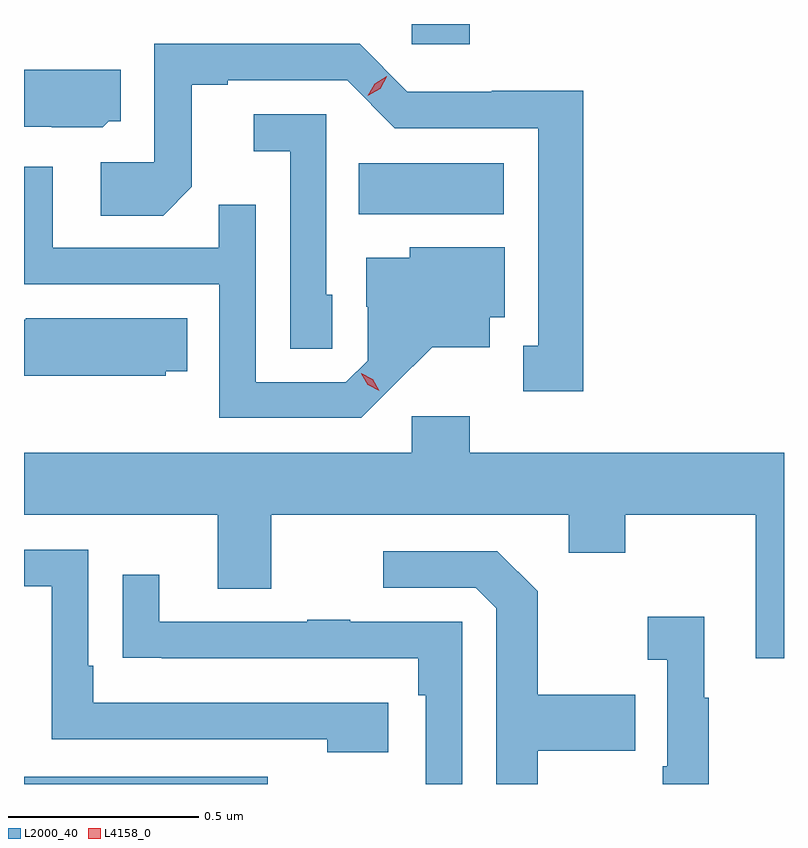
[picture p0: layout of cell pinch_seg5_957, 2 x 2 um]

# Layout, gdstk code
import gdstk
lib = gdstk.Library(unit=1e-6, precision=1e-09)
def R(c, l, rs):  # rectangles x0, y0, x1, y1
    for r in rs: c.add(gdstk.rectangle(r[:2], r[2:], *l))
def P(c, l, *ps):  # polygons
    for p in ps: c.add(gdstk.Polygon(p, *l))
L2000_40 = (2000, 40)
L4158_0 = (4158, 0)

pinch_seg5_957 = lib.new_cell('pinch_seg5_957')
R(pinch_seg5_957, L2000_40, [(677.945,913.328,678.587,913.347), (678.826,914.828,679.207,914.962), (678.966,915.275,679.118,915.328)])
P(pinch_seg5_957, L2000_40, [(679.417,915.152),(679.176,915.152),(679.176,915.15),(678.954,915.15),(678.828,915.276),(678.288,915.276),(678.288,914.964),(678.147,914.964),(678.147,914.824),(678.311,914.824),(678.387,914.9),(678.387,915.168),(678.481,915.168),(678.481,915.18),(678.795,915.18),(678.921,915.054),(679.298,915.054),(679.298,914.481),(679.259,914.481),(679.259,914.361),(679.417,914.361)],
  [(678.168,915.072),(678.199,915.072),(678.199,915.208),(677.945,915.208),(677.945,915.057),(678.018,915.057),(678.018,915.056),(678.152,915.056)],
  [(678.756,914.616),(678.741,914.616),(678.741,915.09),(678.549,915.09),(678.549,914.993),(678.645,914.993),(678.645,914.473),(678.756,914.473)],
  [(678.916,914.375),(679.019,914.477),(679.171,914.477),(679.171,914.556),(679.21,914.556),(679.21,914.74),(678.96,914.74),(678.96,914.713),(678.845,914.713),(678.845,914.584),(678.849,914.584),(678.849,914.442),(678.792,914.385),(678.555,914.385),(678.555,914.852),(678.457,914.852),(678.457,914.739),(678.021,914.739),(678.021,914.953),(677.945,914.953),(677.945,914.643),(678.459,914.643),(678.459,914.292),(678.832,914.292)],
  [(678.318,914.414),(678.374,914.414),(678.374,914.554),(677.95,914.554),(677.95,914.55),(677.945,914.55),(677.945,914.402),(678.318,914.402)],
  [(679.945,914.2),(679.118,914.2),(679.118,914.296),(678.966,914.296),(678.966,914.2),(677.945,914.2),(677.945,914.036),(678.455,914.036),(678.455,913.842),(678.595,913.842),(678.595,914.036),(679.379,914.036),(679.379,913.937),(679.527,913.937),(679.527,914.036),(679.871,914.036),(679.871,913.659),(679.945,913.659)],
  [(678.904,913.542),(678.127,913.542),(678.127,913.639),(678.114,913.639),(678.114,913.944),(677.945,913.944),(677.945,913.848),(678.018,913.848),(678.018,913.446),(678.743,913.446),(678.743,913.412),(678.904,913.412)],
  [(679.297,913.415),(679.553,913.415),(679.553,913.563),(679.297,913.563),(679.297,913.835),(679.191,913.941),(678.891,913.941),(678.891,913.845),(679.134,913.845),(679.188,913.791),(679.188,913.328),(679.297,913.328)],
  [(679.098,913.755),(678.803,913.755),(678.803,913.76),(678.691,913.76),(678.691,913.755),(678.301,913.755),(678.301,913.879),(678.205,913.879),(678.205,913.66),(678.307,913.66),(678.307,913.659),(678.982,913.659),(678.982,913.562),(679.002,913.562),(679.002,913.328),(679.098,913.328)],
  [(679.747,913.555),(679.735,913.555),(679.735,913.768),(679.587,913.768),(679.587,913.655),(679.638,913.655),(679.638,913.375),(679.626,913.375),(679.626,913.328),(679.747,913.328)])
P(pinch_seg5_957, L4158_0, [(678.85,915.139),(678.85,915.139),(678.868,915.171),(678.899,915.19),(678.9,915.19),(678.9,915.189),(678.882,915.157),(678.85,915.139)],
  [(678.88,914.363),(678.849,914.379),(678.832,914.408),(678.832,914.409),(678.832,914.409),(678.863,914.393),(678.88,914.363),(678.88,914.363)])

lib.write_gds('pinch_seg5_957.gds')
